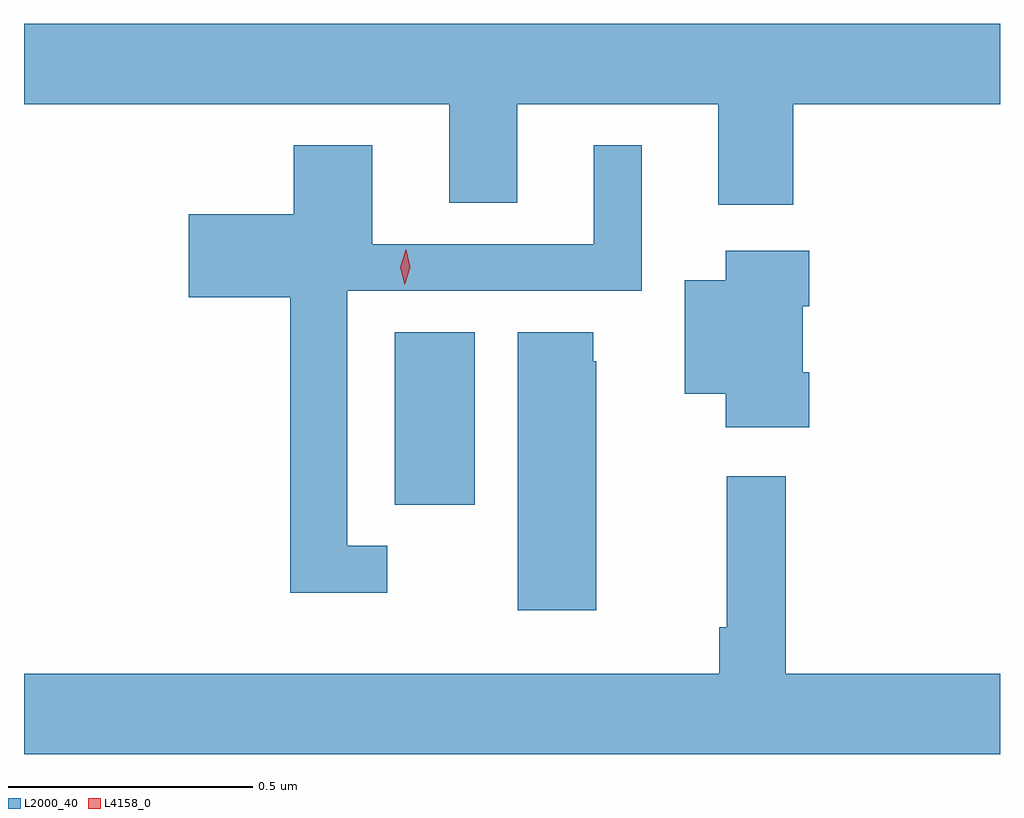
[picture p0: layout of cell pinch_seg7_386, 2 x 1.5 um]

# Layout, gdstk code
import gdstk
lib = gdstk.Library(unit=1e-6, precision=1e-09)
def R(c, l, rs):  # rectangles x0, y0, x1, y1
    for r in rs: c.add(gdstk.rectangle(r[:2], r[2:], *l))
def P(c, l, *ps):  # polygons
    for p in ps: c.add(gdstk.Polygon(p, *l))
L2000_40 = (2000, 40)
L4158_0 = (4158, 0)

pinch_seg7_386 = lib.new_cell('pinch_seg7_386')
R(pinch_seg7_386, L2000_40, [(377.786,1021.107,377.95,1021.46)])
P(pinch_seg7_386, L2000_40, [(377.026,1021.928),(377.897,1021.928),(377.897,1021.726),(378.037,1021.726),(378.037,1021.928),(378.449,1021.928),(378.449,1021.722),(378.602,1021.722),(378.602,1021.928),(379.026,1021.928),(379.026,1022.092),(377.026,1022.092)],
  [(377.77,1021.023),(377.688,1021.023),(377.688,1021.545),(378.292,1021.545),(378.292,1021.843),(378.194,1021.843),(378.194,1021.641),(377.74,1021.641),(377.74,1021.843),(377.579,1021.843),(377.579,1021.702),(377.364,1021.702),(377.364,1021.532),(377.572,1021.532),(377.572,1020.926),(377.77,1020.926)],
  [(378.635,1021.378),(378.622,1021.378),(378.622,1021.514),(378.635,1021.514),(378.635,1021.627),(378.464,1021.627),(378.464,1021.567),(378.38,1021.567),(378.38,1021.334),(378.464,1021.334),(378.464,1021.266),(378.635,1021.266)],
  [(378.199,1021.401),(378.193,1021.401),(378.193,1021.46),(378.038,1021.46),(378.038,1020.891),(378.199,1020.891)],
  [(379.026,1020.76),(378.587,1020.76),(378.587,1021.165),(378.466,1021.165),(378.466,1020.856),(378.451,1020.856),(378.451,1020.76),(377.026,1020.76),(377.026,1020.596),(379.026,1020.596)])
P(pinch_seg7_386, L4158_0, [(377.806,1021.558),(377.806,1021.558),(377.797,1021.594),(377.808,1021.629),(377.809,1021.629),(377.809,1021.629),(377.817,1021.593),(377.806,1021.558)])

lib.write_gds('pinch_seg7_386.gds')
